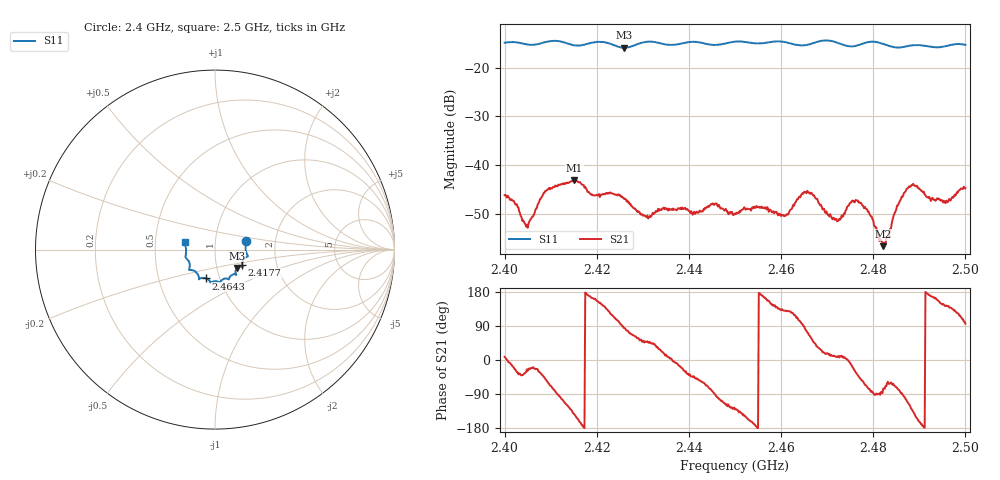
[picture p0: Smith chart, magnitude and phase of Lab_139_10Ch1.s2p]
# Hz S RI R 50
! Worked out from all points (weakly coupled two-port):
!   601 points, 2.4 GHz to 2.5 GHz, reference 50 ohm
!   highest |S21| = -43.06 dB at 2.4152 GHz (marker M1); lowest = -56.5 dB at 2.4822 GHz (marker M2)
!   lowest |S11| = -16.0 dB at 2.4258 GHz (marker M3), VSWR 1.38, Z = 62.4 - j13.1 ohm
!   |S11| at or under -10 dB: start of sweep to end of sweep
!   S12 and S22 are empty: the file has one direction only
!   S11 on the Smith chart (normalised r, x): 2.4 GHz: 1.41, +0.14; 2.4177 GHz: 1.33, -0.23; 2.4643 GHz: 0.86, -0.29; 2.5 GHz: 0.71, +0.06
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2.4e9  0.1729 0.0478  0.00493 0.000717  0 0  0 0
2.404833e9  0.1714 0.0177  0.00225 -0.00104  0 0  0 0
2.409e9  0.1801 -0.0295  0.00336 -0.00438  0 0  0 0
2.415167e9  0.1587 -0.0559  -0.00568 -0.00414  0 0  0 0
2.416667e9  0.1519 -0.0732  -0.00637 -0.00113  0 0  0 0
2.417667e9  0.1508 -0.0845  -0.00581 0.000344  0 0  0 0
2.425833e9  0.1219 -0.1022  0.000424 0.00464  0 0  0 0
2.430833e9  0.1185 -0.1398  0.00197 0.0022  0 0  0 0
2.433333e9  0.1142 -0.1376  0.00308 0.00187  0 0  0 0
2.4455e9  0.0523 -0.1617  0.000138 -0.00395  0 0  0 0
2.45e9  0.0278 -0.1819  -0.00211 -0.00245  0 0  0 0
2.461e9  -0.0278 -0.1793  -0.002 0.00233  0 0  0 0
2.464333e9  -0.049 -0.1609  -0.000715 0.00495  0 0  0 0
2.466667e9  -0.0759 -0.1583  0.00304 0.00425  0 0  0 0
2.472e9  -0.0892 -0.1574  0.00282 0.000401  0 0  0 0
2.476833e9  -0.1249 -0.1147  0.00302 -0.00289  0 0  0 0
2.482167e9  -0.1416 -0.1017  0.000383 -0.00145  0 0  0 0
2.483333e9  -0.1402 -0.0905  0.000871 -0.0017  0 0  0 0
2.485667e9  -0.1464 -0.0644  0.00074 -0.00417  0 0  0 0
2.488167e9  -0.1609 -0.0473  -0.00367 -0.0049  0 0  0 0
2.495667e9  -0.1642 0.0177  -0.00326 0.00252  0 0  0 0
2.5e9  -0.1647 0.0438  -0.000587 0.00582  0 0  0 0
